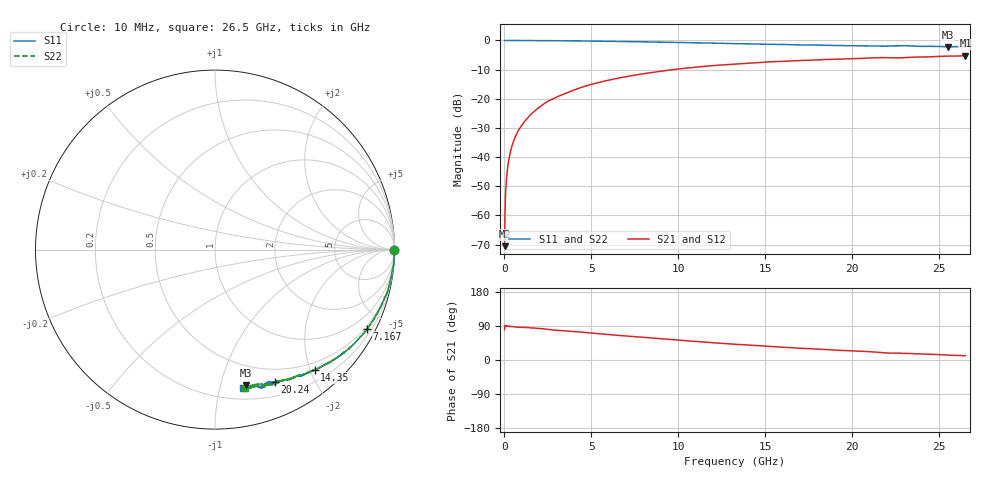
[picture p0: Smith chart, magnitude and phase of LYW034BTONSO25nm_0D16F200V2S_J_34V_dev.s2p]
!Keysight Technologies,N5222B,MY61253708,A.15.00.15
!Date: Wednesday, June 19, 2024 08:56:38
!Correction: S11(C  2-Port  )
!S21(C  2-Port  )
!S12(C  2-Port  )
!S22(C  2-Port  )
!S2P File: Measurements: S11, S21, S12, S22:
# Hz S  RI  R 50
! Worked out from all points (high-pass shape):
!   2651 points, 10 MHz to 26.5 GHz, reference 50 ohm
!   highest |S21| = -5.21 dB at 26.5 GHz (marker M1); lowest = -70.5 dB at 10 MHz (marker M2)
!   |S21| within 3 dB of the highest: 12.94 GHz to end of sweep
!   lowest |S11| = -2.2 dB at 25.5 GHz (marker M3), VSWR 7.85, Z = 16 - j60.2 ohm
!   |S11| at or under -10 dB: nowhere
!   |S22| runs from -2.1 to 0.0 dB; largest |S21 - S12| = 0.0076
!   S11 on the Smith chart (normalised r, x): 10 MHz: open; 7.167 GHz: 0.40, -4.04; 14.35 GHz: 0.37, -2.07; 20.24 GHz: 0.35, -1.49; 26.5 GHz: 0.29, -1.18
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1e7  0.9987 -0.00197  5.08e-05 0.000293  -5.09e-05 0.000171  0.9988 -0.000631
7.997358e7  0.9998 -0.00587  2.79e-05 0.00285  4.44e-05 0.00288  0.9993 -0.00547
1.499472e8  0.9998 -0.0114  6.14e-05 0.00536  6.1e-05 0.00541  0.9995 -0.0107
1.899321e8  0.9999 -0.0134  8.89e-05 0.00681  7.52e-05 0.00683  0.9998 -0.0127
2.399132e8  0.9992 -0.0176  0.000172 0.00858  0.000146 0.00867  0.9991 -0.0166
3.298792e8  0.9992 -0.0235  0.000325 0.0118  0.000277 0.0119  0.9992 -0.0225
4.598302e8  0.9989 -0.033  0.000533 0.0164  0.000549 0.0165  0.9986 -0.0321
6.097736e8  0.9986 -0.0433  0.000971 0.0218  0.000957 0.0219  0.9986 -0.0426
7.997019e8  0.9977 -0.0567  0.00165 0.0284  0.00166 0.0286  0.9971 -0.0555
1.429464e9  0.9892 -0.1016  0.00401 0.0507  0.0041 0.0509  0.9923 -0.098
2.319128e9  0.9793 -0.1588  0.0116 0.083  0.0118 0.0835  0.9808 -0.159
3.138819e9  0.9666 -0.2135  0.0235 0.1091  0.0236 0.1097  0.9677 -0.2115
4.428332e9  0.9351 -0.2932  0.0442 0.1508  0.0446 0.1517  0.9371 -0.2897
7.167298e9  0.8469 -0.4422  0.1118 0.2171  0.1133 0.2182  0.8499 -0.4397
8.846664e9  0.782 -0.5164  0.1611 0.2456  0.1625 0.2464  0.7846 -0.5138
1.3255e10  0.5973 -0.6493  0.2944 0.2625  0.2966 0.2625  0.6023 -0.6473
1.435458e10  0.555 -0.6709  0.3236 0.2576  0.3253 0.2572  0.5596 -0.6671
1.767333e10  0.4214 -0.7186  0.4002 0.2265  0.4035 0.2252  0.4345 -0.7164
2.024236e10  0.3345 -0.738  0.4497 0.1947  0.4522 0.1933  0.3514 -0.7375
2.209166e10  0.2884 -0.7431  0.4793 0.1587  0.4808 0.1566  0.2848 -0.7502
2.550038e10  0.1723 -0.7545  0.5249 0.1186  0.5263 0.1195  0.1943 -0.7603
2.65e10  0.1544 -0.7691  0.5382 0.1076  0.5372 0.1048  0.1685 -0.7694
